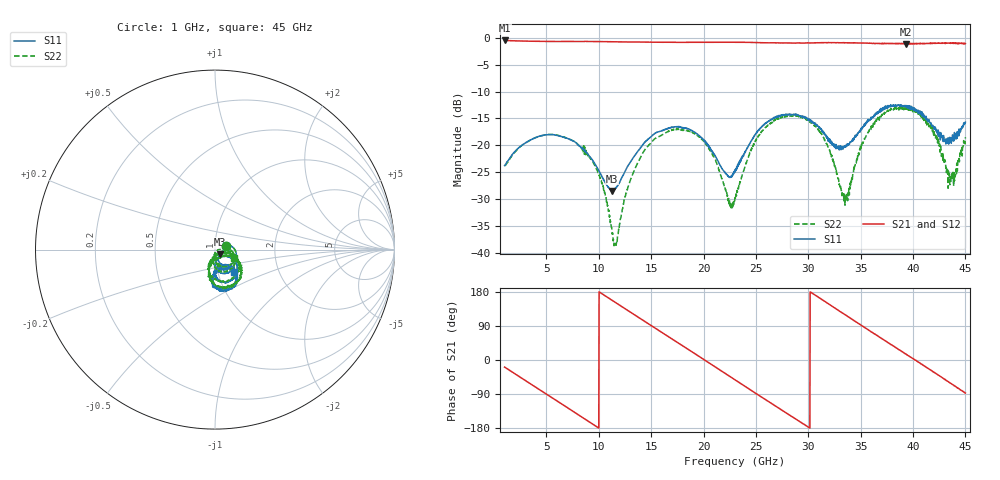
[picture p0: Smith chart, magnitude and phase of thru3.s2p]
!Keysight Technologies,N5247B,MY61255062,A.19.80.06
!Date: Thursday, May 21, 2026 11:37:36
!Correction: S11(Cdelta 2-Port  )
!S21(Cdelta 2-Port  )
!S12(Cdelta 2-Port  )
!S22(Cdelta 2-Port  )
!S2P File: Measurements: S11, S21, S12, S22:
# Hz S  dB  R 50
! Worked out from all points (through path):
!   1601 points, 1 GHz to 45 GHz, reference 50 ohm
!   highest |S21| = -0.47 dB at 1 GHz (marker M1); lowest = -1.1 dB at 39.34 GHz (marker M2)
!   group delay of S21, straight-line fit = 49.7 ps
!   lowest |S11| = -28.5 dB at 11.29 GHz (marker M3), VSWR 1.08, Z = 52.7 - j2.74 ohm
!   |S11| at or under -10 dB: start of sweep to end of sweep
!   |S22| runs from -38.8 to -12.8 dB; largest |S21 - S12| = 0.014
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1e9  -23.78 18.4  -0.47 -18.7  -0.47 -18.7  -23.87 18.5
4.74e9  -18.11 -18.5  -0.64 -85.6  -0.64 -85.6  -18.12 -19.3
6.5e9  -18.41 -42.1  -0.65 -116.9  -0.66 -116.9  -18.36 -45.5
8.3425e9  -20.44 -63.5  -0.66 -150.0  -0.66 -150.0  -20.60 -72.7
1.01025e10  -25.15 -71.2  -0.68 178.4  -0.68 178.4  -26.10 -94.9
1.1285e10  -28.50 -43.6  -0.71 157.1  -0.71 157.1  -36.58 -78.3
1.167e10  -27.81 -30.0  -0.72 150.2  -0.72 150.2  -38.31 -29.8
1.365e10  -21.32 -15.9  -0.76 115.0  -0.77 115.0  -23.53 6.7
1.5685e10  -17.51 -36.2  -0.82 78.7  -0.82 78.7  -18.42 -22.2
1.9535e10  -18.15 -80.5  -0.81 10.1  -0.81 10.1  -18.29 -79.0
2.3e10  -24.78 -38.8  -0.81 -52.3  -0.81 -52.3  -29.80 -30.5
2.4705e10  -18.65 -28.6  -0.84 -83.0  -0.85 -83.1  -20.19 -10.9
2.63825e10  -15.31 -43.0  -0.91 -112.8  -0.91 -112.9  -16.00 -34.1
2.839e10  -14.36 -65.8  -0.95 -148.6  -0.97 -148.7  -14.61 -64.1
3.03425e10  -15.72 -84.9  -0.91 176.9  -0.93 176.8  -15.84 -92.1
3.3615e10  -20.23 -59.8  -0.90 117.8  -0.91 117.6  -29.52 -52.2
3.5375e10  -16.37 -46.4  -0.96 86.2  -0.95 86.0  -18.89 -18.9
3.7685e10  -12.75 -63.8  -1.05 44.4  -1.04 44.7  -13.37 -48.1
3.9335e10  -12.59 -80.7  -1.13 15.4  -1.10 15.4  -12.98 -74.2
4.17e10  -15.82 -94.1  -0.96 -26.8  -1.01 -27.0  -16.63 -100.6
4.35425e10  -18.68 -66.7  -0.97 -60.5  -0.99 -60.5  -25.81 -78.7
4.5e10  -15.71 -49.7  -1.05 -87.3  -1.08 -87.4  -18.51 -24.2
